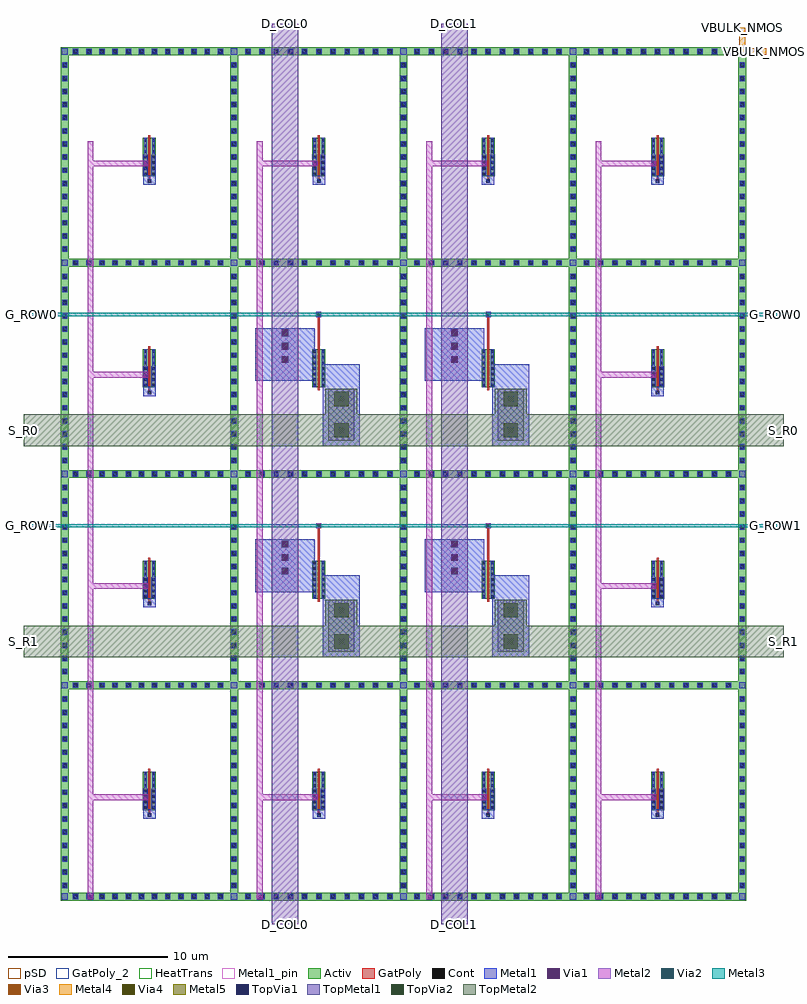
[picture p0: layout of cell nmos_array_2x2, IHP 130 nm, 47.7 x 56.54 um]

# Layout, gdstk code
import gdstk
lib = gdstk.Library(unit=1e-6, precision=1e-09)
def R(c, l, rs):  # rectangles x0, y0, x1, y1
    for r in rs: c.add(gdstk.rectangle(r[:2], r[2:], *l))
def A(c, l, x, y, w, h, nx, ny, dx, dy):  # array of equal rectangles
    R(c, l, [(x+i*dx, y+j*dy, x+i*dx+w, y+j*dy+h) for i in range(nx) for j in range(ny)])
Activ = (1, 0)
GatPoly = (5, 0)
GatPoly_2 = (5, 2)
Cont = (6, 0)
Metal1 = (8, 0)
Metal1_pin = (8, 2)
Metal2 = (10, 0)
pSD = (14, 0)
Via1 = (19, 0)
Via2 = (29, 0)
Metal3 = (30, 0)
Via3 = (49, 0)
Metal4 = (50, 0)
HeatTrans = (51, 0)
Via4 = (66, 0)
Metal5 = (67, 0)
TopVia1 = (125, 0)
TopMetal1 = (126, 0)
TopVia2 = (133, 0)
TopMetal2 = (134, 0)

nmos = lib.new_cell('nmos')
R(nmos, Activ, [(0,0,0.3,0.3), (0,0,0.81,2.4), (0.51,0,0.81,0.3)])
R(nmos, GatPoly, [(0.34,-0.18,0.47,2.58)])
R(nmos, GatPoly_2, [(0.34,-0.18,0.47,2.58)])
A(nmos, Cont, 0.07, 0.07, 0.16, 0.16, 1, 7, 0, 0.35)
A(nmos, Cont, 0.58, 0.07, 0.16, 0.16, 1, 7, 0, 0.35)
R(nmos, Metal1, [(0.07,0,0.23,2.4), (0.58,0,0.74,2.4)])
R(nmos, Metal1_pin, [(0.07,0,0.23,2.4), (0.58,0,0.74,2.4)])
R(nmos, HeatTrans, [(0.34,-0.18,0.47,2.58)])
nmos.add(gdstk.Label('nmos', (0.405,1.2), layer=63, texttype=0))
nmos.add(gdstk.Label('nmos', (0.405,1.2), layer=51, texttype=0))

nmos_array_2x2 = lib.new_cell('nmos_array_2x2')
A(nmos_array_2x2, Activ, 0, 0, 0.5, 53.54, 5, 1, 10.63, 0)
A(nmos_array_2x2, Activ, 0, 0, 43.02, 0.5, 1, 5, 0, 13.26)
A(nmos_array_2x2, GatPoly, 5.5, 5.38, 0.13, 1.3, 4, 2, 10.63, 39.78)
R(nmos_array_2x2, GatPoly, [(5.5,18.64,5.63,19.94), (37.39,18.64,37.52,19.94), (16.13,21.52,16.26,23.52), (26.76,21.52,26.89,23.52), (5.5,31.9,5.63,33.2), (37.39,31.9,37.52,33.2), (16.13,34.78,16.26,36.78), (26.76,34.78,26.89,36.78)])
A(nmos_array_2x2, Cont, 0.825, 0.14, 0.22, 0.22, 6, 5, 0.826, 13.26)
A(nmos_array_2x2, Cont, 5.78, 0.14, 0.22, 0.22, 6, 5, 0.826, 13.26)
A(nmos_array_2x2, Cont, 11.63, 0.14, 0.22, 0.22, 11, 5, 0.891, 13.26)
A(nmos_array_2x2, Cont, 22.26, 0.14, 0.22, 0.22, 11, 5, 0.891, 13.26)
A(nmos_array_2x2, Cont, 32.89, 0.14, 0.22, 0.22, 11, 5, 0.891, 13.26)
A(nmos_array_2x2, Cont, 0.14, 0.836, 0.22, 0.22, 5, 15, 10.63, 0.836)
A(nmos_array_2x2, Cont, 5.455, 5.27, 0.22, 0.22, 4, 2, 10.63, 39.78)
A(nmos_array_2x2, Cont, 0.14, 14.26, 0.22, 0.22, 5, 4, 10.63, 0.824)
A(nmos_array_2x2, Cont, 0.14, 17.557, 0.22, 0.22, 5, 3, 10.63, 0.824)
A(nmos_array_2x2, Cont, 0.14, 20.03, 0.22, 0.22, 5, 4, 10.63, 0.824)
A(nmos_array_2x2, Cont, 0.14, 23.327, 0.22, 0.22, 5, 3, 10.63, 0.824)
A(nmos_array_2x2, Cont, 0.14, 25.8, 0.22, 0.22, 5, 2, 10.63, 1.72)
A(nmos_array_2x2, Cont, 0.14, 28.344, 0.22, 0.22, 5, 3, 10.63, 0.824)
A(nmos_array_2x2, Cont, 0.14, 30.817, 0.22, 0.22, 5, 3, 10.63, 0.824)
A(nmos_array_2x2, Cont, 0.14, 33.29, 0.22, 0.22, 5, 4, 10.63, 0.824)
A(nmos_array_2x2, Cont, 0.14, 36.587, 0.22, 0.22, 5, 3, 10.63, 0.824)
A(nmos_array_2x2, Cont, 0.14, 39.06, 0.22, 0.22, 5, 2, 10.63, 1.72)
A(nmos_array_2x2, Cont, 0.14, 41.604, 0.22, 0.22, 5, 3, 10.63, 0.824)
A(nmos_array_2x2, Cont, 0.14, 44.077, 0.22, 0.22, 5, 3, 10.63, 0.824)
A(nmos_array_2x2, Cont, 0.14, 46.55, 0.22, 0.22, 5, 4, 10.63, 0.824)
A(nmos_array_2x2, Cont, 0.14, 49.847, 0.22, 0.22, 5, 3, 10.63, 0.824)
A(nmos_array_2x2, Cont, 0.14, 52.32, 0.22, 0.22, 5, 1, 10.63, 0)
R(nmos_array_2x2, Cont, [(5.455,18.53,5.675,18.75), (37.345,18.53,37.565,18.75), (16.085,23.41,16.305,23.63), (26.715,23.41,26.935,23.63), (5.455,31.79,5.675,32.01), (37.345,31.79,37.565,32.01), (16.085,36.67,16.305,36.89), (26.715,36.67,26.935,36.89)])
A(nmos_array_2x2, Metal1, 0.765, 0.08, 0.34, 0.34, 6, 5, 0.826, 13.26)
A(nmos_array_2x2, Metal1, 5.72, 0.08, 0.34, 0.34, 6, 5, 0.826, 13.26)
A(nmos_array_2x2, Metal1, 11.57, 0.08, 0.34, 0.34, 11, 5, 0.891, 13.26)
A(nmos_array_2x2, Metal1, 22.2, 0.08, 0.34, 0.34, 11, 5, 0.891, 13.26)
A(nmos_array_2x2, Metal1, 32.83, 0.08, 0.34, 0.34, 11, 5, 0.891, 13.26)
A(nmos_array_2x2, Metal1, 0.08, 0.776, 0.34, 0.34, 5, 15, 10.63, 0.836)
A(nmos_array_2x2, Metal1, 5.17, 5.14, 0.79, 0.58, 4, 2, 10.63, 39.78)
A(nmos_array_2x2, Metal1, 5.395, 5.21, 0.34, 0.34, 4, 2, 10.63, 39.78)
A(nmos_array_2x2, Metal1, 5.17, 5.24, 0.28, 1.78, 1, 4, 0, 13.26)
A(nmos_array_2x2, Metal1, 5.68, 5.24, 0.28, 1.78, 1, 4, 0, 13.26)
A(nmos_array_2x2, Metal1, 37.06, 5.24, 0.28, 1.78, 1, 4, 0, 13.26)
A(nmos_array_2x2, Metal1, 37.57, 5.24, 0.28, 1.78, 1, 4, 0, 13.26)
A(nmos_array_2x2, Metal1, 0.05, 13.31, 0.4, 0.4, 5, 4, 10.63, 13.26)
A(nmos_array_2x2, Metal1, 0.08, 14.2, 0.34, 0.34, 5, 4, 10.63, 0.824)
A(nmos_array_2x2, Metal1, 0.08, 17.497, 0.34, 0.34, 5, 3, 10.63, 0.824)
A(nmos_array_2x2, Metal1, 0.08, 19.97, 0.34, 0.34, 5, 4, 10.63, 0.824)
A(nmos_array_2x2, Metal1, 0.08, 23.267, 0.34, 0.34, 5, 3, 10.63, 0.824)
A(nmos_array_2x2, Metal1, 0.08, 25.74, 0.34, 0.34, 5, 2, 10.63, 1.72)
A(nmos_array_2x2, Metal1, 0.08, 28.284, 0.34, 0.34, 5, 3, 10.63, 0.824)
A(nmos_array_2x2, Metal1, 0.08, 30.757, 0.34, 0.34, 5, 3, 10.63, 0.824)
A(nmos_array_2x2, Metal1, 0.08, 33.23, 0.34, 0.34, 5, 4, 10.63, 0.824)
A(nmos_array_2x2, Metal1, 0.08, 36.527, 0.34, 0.34, 5, 3, 10.63, 0.824)
A(nmos_array_2x2, Metal1, 0.08, 39, 0.34, 0.34, 5, 2, 10.63, 1.72)
A(nmos_array_2x2, Metal1, 0.08, 41.544, 0.34, 0.34, 5, 3, 10.63, 0.824)
A(nmos_array_2x2, Metal1, 0.08, 44.017, 0.34, 0.34, 5, 3, 10.63, 0.824)
A(nmos_array_2x2, Metal1, 0.08, 46.49, 0.34, 0.34, 5, 4, 10.63, 0.824)
A(nmos_array_2x2, Metal1, 0.08, 49.787, 0.34, 0.34, 5, 3, 10.63, 0.824)
A(nmos_array_2x2, Metal1, 0.08, 52.26, 0.34, 0.34, 5, 1, 10.63, 0)
R(nmos_array_2x2, Metal1, [(0.05,0.05,0.45,0.45), (1.665,0.05,2.065,0.45), (10.68,0.05,11.08,0.45), (12.295,0.05,12.695,0.45), (21.31,0.05,21.71,0.45), (22.925,0.05,23.325,0.45), (31.94,0.05,32.34,0.45), (33.555,0.05,33.955,0.45), (42.57,0.05,42.97,0.45), (15.8,5.24,16.08,7.02), (16.31,5.24,16.59,7.02), (26.43,5.24,26.71,7.02), (26.94,5.24,27.22,7.02), (16.45,15.26,18.77,20.4), (27.08,15.26,29.4,20.4), (5.17,18.4,5.96,18.98), (37.06,18.4,37.85,18.98), (5.395,18.47,5.735,18.81), (37.285,18.47,37.625,18.81), (12.221,19.36,15.94,22.67), (22.851,19.36,26.57,22.67), (16.035,23.36,16.355,23.68), (26.665,23.36,26.985,23.68), (16.45,28.52,18.77,33.66), (27.08,28.52,29.4,33.66), (5.17,31.66,5.96,32.24), (37.06,31.66,37.85,32.24), (5.395,31.73,5.735,32.07), (37.285,31.73,37.625,32.07), (12.221,32.62,15.94,35.93), (22.851,32.62,26.57,35.93), (16.035,36.62,16.355,36.94), (26.665,36.62,26.985,36.94), (15.8,45.02,16.08,46.8), (16.31,45.02,16.59,46.8), (26.43,45.02,26.71,46.8), (26.94,45.02,27.22,46.8)])
A(nmos_array_2x2, Metal2, 1.685, 0.07, 0.36, 47.59, 4, 1, 10.63, 0)
A(nmos_array_2x2, Metal2, 1.685, 6.3, 3.805, 0.36, 4, 2, 10.63, 39.78)
A(nmos_array_2x2, Metal2, 13.925, 20.535, 0.31, 0.31, 1, 3, 0, 0.84)
A(nmos_array_2x2, Metal2, 24.555, 20.535, 0.31, 0.31, 1, 3, 0, 0.84)
A(nmos_array_2x2, Metal2, 13.925, 33.795, 0.31, 0.31, 1, 3, 0, 0.84)
A(nmos_array_2x2, Metal2, 24.555, 33.795, 0.31, 0.31, 1, 3, 0, 0.84)
R(nmos_array_2x2, Metal2, [(17.455,16.105,17.765,16.415), (28.085,16.105,28.395,16.415), (17.455,18.065,17.765,18.375), (28.085,18.065,28.395,18.375), (1.685,19.56,5.49,19.92), (33.575,19.56,37.38,19.92), (16.05,23.375,16.34,23.665), (26.68,23.375,26.97,23.665), (17.455,29.365,17.765,29.675), (28.085,29.365,28.395,29.675), (17.455,31.325,17.765,31.635), (28.085,31.325,28.395,31.635), (1.685,32.82,5.49,33.18), (33.575,32.82,37.38,33.18), (16.05,36.635,16.34,36.925), (26.68,36.635,26.97,36.925), (42.59,53.11,42.95,53.47)])
A(nmos_array_2x2, pSD, 0, 0, 0.5, 53.54, 5, 1, 10.63, 0)
A(nmos_array_2x2, pSD, 0, 0, 43.02, 0.5, 1, 5, 0, 13.26)
A(nmos_array_2x2, Via1, 1.77, 0.155, 0.19, 0.19, 4, 1, 10.63, 0)
A(nmos_array_2x2, Via1, 5.215, 6.325, 0.19, 0.19, 4, 2, 10.63, 39.78)
A(nmos_array_2x2, Via1, 13.985, 20.595, 0.19, 0.19, 1, 3, 0, 0.84)
A(nmos_array_2x2, Via1, 24.615, 20.595, 0.19, 0.19, 1, 3, 0, 0.84)
A(nmos_array_2x2, Via1, 13.985, 33.855, 0.19, 0.19, 1, 3, 0, 0.84)
A(nmos_array_2x2, Via1, 24.615, 33.855, 0.19, 0.19, 1, 3, 0, 0.84)
R(nmos_array_2x2, Via1, [(17.515,16.165,17.705,16.355), (28.145,16.165,28.335,16.355), (17.515,18.125,17.705,18.315), (28.145,18.125,28.335,18.315), (5.215,19.585,5.405,19.775), (37.105,19.585,37.295,19.775), (16.1,23.425,16.29,23.615), (26.73,23.425,26.92,23.615), (17.515,29.425,17.705,29.615), (28.145,29.425,28.335,29.615), (17.515,31.385,17.705,31.575), (28.145,31.385,28.335,31.575), (5.215,32.845,5.405,33.035), (37.105,32.845,37.295,33.035), (16.1,36.685,16.29,36.875), (26.73,36.685,26.92,36.875), (42.675,53.195,42.865,53.385)])
A(nmos_array_2x2, Via2, 13.985, 20.595, 0.19, 0.19, 1, 3, 0, 0.84)
A(nmos_array_2x2, Via2, 24.615, 20.595, 0.19, 0.19, 1, 3, 0, 0.84)
A(nmos_array_2x2, Via2, 13.985, 33.855, 0.19, 0.19, 1, 3, 0, 0.84)
A(nmos_array_2x2, Via2, 24.615, 33.855, 0.19, 0.19, 1, 3, 0, 0.84)
R(nmos_array_2x2, Via2, [(17.515,16.165,17.705,16.355), (28.145,16.165,28.335,16.355), (17.515,18.125,17.705,18.315), (28.145,18.125,28.335,18.315), (16.1,23.425,16.29,23.615), (26.73,23.425,26.92,23.615), (17.515,29.425,17.705,29.615), (28.145,29.425,28.335,29.615), (17.515,31.385,17.705,31.575), (28.145,31.385,28.335,31.575), (16.1,36.685,16.29,36.875), (26.73,36.685,26.92,36.875), (42.675,53.195,42.865,53.385)])
A(nmos_array_2x2, Metal3, 13.925, 20.535, 0.31, 0.31, 1, 3, 0, 0.84)
A(nmos_array_2x2, Metal3, 24.555, 20.535, 0.31, 0.31, 1, 3, 0, 0.84)
A(nmos_array_2x2, Metal3, 13.925, 33.795, 0.31, 0.31, 1, 3, 0, 0.84)
A(nmos_array_2x2, Metal3, 24.555, 33.795, 0.31, 0.31, 1, 3, 0, 0.84)
R(nmos_array_2x2, Metal3, [(17.455,16.105,17.765,16.415), (28.085,16.105,28.395,16.415), (17.455,18.065,17.765,18.375), (28.085,18.065,28.395,18.375), (-1.94,23.42,44.96,23.62), (16.095,23.42,16.295,23.62), (26.725,23.42,26.925,23.62), (17.455,29.365,17.765,29.675), (28.085,29.365,28.395,29.675), (17.455,31.325,17.765,31.635), (28.085,31.325,28.395,31.635), (-1.94,36.68,44.96,36.88), (16.095,36.68,16.295,36.88), (26.725,36.68,26.925,36.88), (42.67,53.19,42.87,53.39)])
A(nmos_array_2x2, Via3, 13.985, 20.595, 0.19, 0.19, 1, 3, 0, 0.84)
A(nmos_array_2x2, Via3, 24.615, 20.595, 0.19, 0.19, 1, 3, 0, 0.84)
A(nmos_array_2x2, Via3, 13.985, 33.855, 0.19, 0.19, 1, 3, 0, 0.84)
A(nmos_array_2x2, Via3, 24.615, 33.855, 0.19, 0.19, 1, 3, 0, 0.84)
R(nmos_array_2x2, Via3, [(17.515,16.165,17.705,16.355), (28.145,16.165,28.335,16.355), (17.515,18.125,17.705,18.315), (28.145,18.125,28.335,18.315), (17.515,29.425,17.705,29.615), (28.145,29.425,28.335,29.615), (17.515,31.385,17.705,31.575), (28.145,31.385,28.335,31.575), (42.675,53.195,42.865,53.385)])
A(nmos_array_2x2, Metal4, 13.925, 20.535, 0.31, 0.31, 1, 3, 0, 0.84)
A(nmos_array_2x2, Metal4, 24.555, 20.535, 0.31, 0.31, 1, 3, 0, 0.84)
A(nmos_array_2x2, Metal4, 13.925, 33.795, 0.31, 0.31, 1, 3, 0, 0.84)
A(nmos_array_2x2, Metal4, 24.555, 33.795, 0.31, 0.31, 1, 3, 0, 0.84)
R(nmos_array_2x2, Metal4, [(17.455,16.105,17.765,16.415), (28.085,16.105,28.395,16.415), (17.455,18.065,17.765,18.375), (28.085,18.065,28.395,18.375), (17.455,29.365,17.765,29.675), (28.085,29.365,28.395,29.675), (17.455,31.325,17.765,31.635), (28.085,31.325,28.395,31.635), (42.57,53.09,44.27,53.49), (42.57,53.09,42.97,54.79)])
A(nmos_array_2x2, Via4, 13.985, 20.595, 0.19, 0.19, 1, 3, 0, 0.84)
A(nmos_array_2x2, Via4, 24.615, 20.595, 0.19, 0.19, 1, 3, 0, 0.84)
A(nmos_array_2x2, Via4, 13.985, 33.855, 0.19, 0.19, 1, 3, 0, 0.84)
A(nmos_array_2x2, Via4, 24.615, 33.855, 0.19, 0.19, 1, 3, 0, 0.84)
R(nmos_array_2x2, Via4, [(17.515,16.165,17.705,16.355), (28.145,16.165,28.335,16.355), (17.515,18.125,17.705,18.315), (28.145,18.125,28.335,18.315), (17.515,29.425,17.705,29.615), (28.145,29.425,28.335,29.615), (17.515,31.385,17.705,31.575), (28.145,31.385,28.335,31.575)])
A(nmos_array_2x2, Metal5, 13.925, 20.535, 0.31, 0.31, 1, 3, 0, 0.84)
A(nmos_array_2x2, Metal5, 24.555, 20.535, 0.31, 0.31, 1, 3, 0, 0.84)
A(nmos_array_2x2, Metal5, 13.925, 33.795, 0.31, 0.31, 1, 3, 0, 0.84)
A(nmos_array_2x2, Metal5, 24.555, 33.795, 0.31, 0.31, 1, 3, 0, 0.84)
R(nmos_array_2x2, Metal5, [(17.455,16.105,17.765,16.415), (28.085,16.105,28.395,16.415), (17.455,18.065,17.765,18.375), (28.085,18.065,28.395,18.375), (17.455,29.365,17.765,29.675), (28.085,29.365,28.395,29.675), (17.455,31.325,17.765,31.635), (28.085,31.325,28.395,31.635)])
A(nmos_array_2x2, TopVia1, 13.87, 20.48, 0.42, 0.42, 1, 3, 0, 0.84)
A(nmos_array_2x2, TopVia1, 24.5, 20.48, 0.42, 0.42, 1, 3, 0, 0.84)
A(nmos_array_2x2, TopVia1, 13.87, 33.74, 0.42, 0.42, 1, 3, 0, 0.84)
A(nmos_array_2x2, TopVia1, 24.5, 33.74, 0.42, 0.42, 1, 3, 0, 0.84)
R(nmos_array_2x2, TopVia1, [(17.4,16.05,17.82,16.47), (28.03,16.05,28.45,16.47), (17.4,18.01,17.82,18.43), (28.03,18.01,28.45,18.43), (17.4,29.31,17.82,29.73), (28.03,29.31,28.45,29.73), (17.4,31.27,17.82,31.69), (28.03,31.27,28.45,31.69)])
R(nmos_array_2x2, TopMetal1, [(13.256,-1.5,14.904,55.04), (23.886,-1.5,25.534,55.04), (16.786,15.61,18.434,18.87), (27.416,15.61,29.064,18.87), (13.256,20.38,14.904,22.68), (23.886,20.38,25.534,22.68), (16.786,28.87,18.434,32.13), (27.416,28.87,29.064,32.13), (13.256,33.64,14.904,35.94), (23.886,33.64,25.534,35.94)])
R(nmos_array_2x2, TopVia2, [(17.16,15.81,18.06,16.71), (27.79,15.81,28.69,16.71), (17.16,17.77,18.06,18.67), (27.79,17.77,28.69,18.67), (17.16,29.07,18.06,29.97), (27.79,29.07,28.69,29.97), (17.16,31.03,18.06,31.93), (27.79,31.03,28.69,31.93)])
R(nmos_array_2x2, TopMetal2, [(-2.34,15.26,45.36,17.26), (16.61,15.61,18.61,18.87), (27.24,15.61,29.24,18.87), (-2.34,28.52,45.36,30.52), (16.61,28.87,18.61,32.13), (27.24,28.87,29.24,32.13)])
nmos_array_2x2.add(gdstk.Reference(nmos, (5.16,5.68)))
nmos_array_2x2.add(gdstk.Reference(nmos, (15.79,5.68)))
nmos_array_2x2.add(gdstk.Reference(nmos, (26.42,5.68)))
nmos_array_2x2.add(gdstk.Reference(nmos, (37.05,5.68)))
nmos_array_2x2.add(gdstk.Reference(nmos, (5.16,18.94)))
nmos_array_2x2.add(gdstk.Reference(nmos, (15.79,18.94)))
nmos_array_2x2.add(gdstk.Reference(nmos, (26.42,18.94)))
nmos_array_2x2.add(gdstk.Reference(nmos, (37.05,18.94)))
nmos_array_2x2.add(gdstk.Reference(nmos, (5.16,32.2)))
nmos_array_2x2.add(gdstk.Reference(nmos, (15.79,32.2)))
nmos_array_2x2.add(gdstk.Reference(nmos, (26.42,32.2)))
nmos_array_2x2.add(gdstk.Reference(nmos, (37.05,32.2)))
nmos_array_2x2.add(gdstk.Reference(nmos, (5.16,45.46)))
nmos_array_2x2.add(gdstk.Reference(nmos, (15.79,45.46)))
nmos_array_2x2.add(gdstk.Reference(nmos, (26.42,45.46)))
nmos_array_2x2.add(gdstk.Reference(nmos, (37.05,45.46)))
nmos_array_2x2.add(gdstk.Label('VBULK_NMOS', (44.27,53.29), layer=63, texttype=0))
nmos_array_2x2.add(gdstk.Label('VBULK_NMOS', (42.77,54.79), layer=63, texttype=0))
nmos_array_2x2.add(gdstk.Label('G_ROW1', (-1.84,23.52), layer=63, texttype=0))
nmos_array_2x2.add(gdstk.Label('G_ROW1', (44.86,23.52), layer=63, texttype=0))
nmos_array_2x2.add(gdstk.Label('G_ROW0', (-1.84,36.78), layer=63, texttype=0))
nmos_array_2x2.add(gdstk.Label('G_ROW0', (44.86,36.78), layer=63, texttype=0))
nmos_array_2x2.add(gdstk.Label('D_COL0', (14.08,-1.5), layer=63, texttype=0))
nmos_array_2x2.add(gdstk.Label('D_COL0', (14.08,55.04), layer=63, texttype=0))
nmos_array_2x2.add(gdstk.Label('D_COL1', (24.71,-1.5), layer=63, texttype=0))
nmos_array_2x2.add(gdstk.Label('D_COL1', (24.71,55.04), layer=63, texttype=0))
nmos_array_2x2.add(gdstk.Label('S_R1', (-2.34,16.26), layer=63, texttype=0))
nmos_array_2x2.add(gdstk.Label('S_R1', (45.36,16.26), layer=63, texttype=0))
nmos_array_2x2.add(gdstk.Label('S_R0', (-2.34,29.52), layer=63, texttype=0))
nmos_array_2x2.add(gdstk.Label('S_R0', (45.36,29.52), layer=63, texttype=0))

lib.write_gds('nmos_array_2x2.gds')
